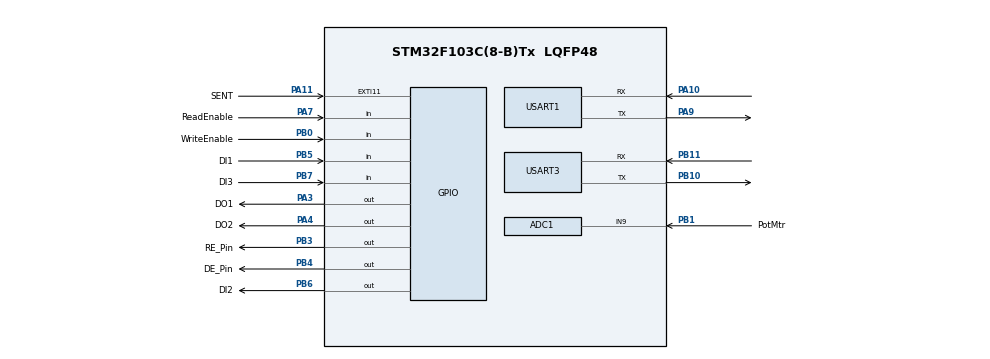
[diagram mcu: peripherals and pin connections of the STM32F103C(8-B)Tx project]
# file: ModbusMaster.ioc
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Mcu.Family=STM32F1
NVIC.USART3_IRQn=true\:0\:0\:true\:false\:true\:true\:true
PA10.Mode=Asynchronous
PB10.Mode=Asynchronous
PA11.GPIO_Label=SENT
PB0.GPIO_Label=WriteEnable
PB6.GPIO_Label=DI2
PA11.GPIO_PuPd=GPIO_PULLDOWN
PB11.Signal=USART3_RX
ProjectManager.StackSize=0x400
PA13.Signal=SYS_JTMS-SWDIO
PA9.Mode=Asynchronous
PB11.Mode=Asynchronous
ProjectManager.TargetToolchain=STM32CubeIDE
PA9.Signal=USART1_TX
PB6.Signal=GPIO_Output
ADC1.Channel-1\#ChannelRegularConversion=ADC_CHANNEL_9
PB10.Signal=USART3_TX
NVIC.EXTI15_10_IRQn=true\:3\:0\:true\:false\:true\:true\:true
SH.SharedAnalog_PB1.0=GPIO_Analog
SH.SharedAnalog_PB1.1=ADC1_IN9,IN9
board=custom
NVIC.TIM3_IRQn=true\:2\:0\:true\:false\:true\:true\:true
RCC.APB2Freq_Value=8000000
PB4.GPIO_Label=DE_Pin
VP_TIM2_VS_ClockSourceINT.Mode=Internal
PA14.Mode=Serial_Wire
PB1.GPIO_Label=PotMtr
NVIC.TIM2_IRQn=true\:0\:0\:false\:false\:true\:true\:true
PB7.Signal=GPIO_Input
PA13.Mode=Serial_Wire
Mcu.Name=STM32F103C(8-B)Tx
PB7.GPIO_Label=DI3
PB3.Signal=GPIO_Output
PA4.Signal=GPIO_Output
ADC1.SamplingTime-1\#ChannelRegularConversion=ADC_SAMPLETIME_1CYCLE_5
Mcu.Package=LQFP48
PB5.Signal=GPIO_Input
PB1.Signal=SharedAnalog_PB1
PA7.GPIO_Label=ReadEnable
ADC1.master=1
USART3.VirtualMode=VM_ASYNC
USART1.VirtualMode=VM_ASYNC
ADC1.Rank-1\#ChannelRegularConversion=1
PA11.Signal=GPXTI11
PA10.Signal=USART1_RX
PA14.Signal=SYS_JTCK-SWCLK
ProjectManager.HeapSize=0x200
VP_TIM4_VS_ClockSourceINT.Mode=Internal
NVIC.PriorityGroup=NVIC_PRIORITYGROUP_4
ADC1.NbrOfConversionFlag=1
PB5.GPIO_Label=DI1
NVIC.TIM4_IRQn=true\:1\:0\:true\:false\:true\:true\:true
PA11.GPIO_ModeDefaultEXTI=GPIO_MODE_IT_RISING
RCC.APB1Freq_Value=8000000
PB0.Signal=GPIO_Input
PA4.GPIO_Label=DO2
VP_TIM3_VS_ClockSourceINT.Mode=Internal
PB4.Signal=GPIO_Output
PA3.GPIO_Label=DO1
PA3.Signal=GPIO_Output
PA7.Signal=GPIO_Input
PB3.GPIO_Label=RE_Pin

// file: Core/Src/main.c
/* USER CODE BEGIN Header */
/**
  ******************************************************************************
  * @file           : main.c
  * @brief          : Main program body
  ******************************************************************************
  * @attention
  *
  * <h2><center>&copy; Copyright (c) 2021 STMicroelectronics.
  * All rights reserved.</center></h2>
  *
  * This software component is licensed by ST under BSD 3-Clause license,
  * the "License"; You may not use this file except in compliance with the
  * License. You may obtain a copy of the License at:
  *                        opensource.org/licenses/BSD-3-Clause
  *
  ******************************************************************************
  */
/* USER CODE END Header */
#include "main.h"

/* USER CODE BEGIN Includes */
#include "stdarg.h"
#include "rtuHandler.h"

/* USER CODE END Includes */

ADC_HandleTypeDef hadc1;

TIM_HandleTypeDef htim2;
TIM_HandleTypeDef htim3;
TIM_HandleTypeDef htim4;

UART_HandleTypeDef huart1;
UART_HandleTypeDef huart3;

/* USER CODE BEGIN PV */

MBHandler MBMaster;

/* USER CODE END PV */

void SystemClock_Config(void);
static void MX_GPIO_Init(void);
static void MX_TIM3_Init(void);
static void MX_TIM4_Init(void);
static void MX_USART1_UART_Init(void);
static void MX_ADC1_Init(void);
static void MX_USART3_UART_Init(void);
static void MX_TIM2_Init(void);
/* USER CODE BEGIN PFP */
void printMsg(char *msg,...);

void GPIOMapping();

void SelectADCChannel();

/* USER CODE END PFP */

/* USER CODE BEGIN 0 */
void printMsg( char *msg,...)
{
	char buffer[100];

	va_list args;
	va_start(args, msg);
	vsprintf(buffer, msg, args);

	for(int j=0; j<strlen(buffer); j++)
	{
		USART1->DR = buffer[j];
		while(!(USART1->SR & USART_SR_TXE));
	}
}

void SelectADCChannel(uint32_t channel)
{

}

void GPIOMapping()
{

}

/* USER CODE END 0 */

int main(void)
{

  /* MCU Configuration--------------------------------------------------------*/

  /* Reset of all peripherals, Initializes the Flash interface and the Systick. */
  HAL_Init();

  /* Configure the system clock */
  SystemClock_Config();

  /* Initialize all configured peripherals */
  MX_GPIO_Init();
  MX_TIM3_Init();
  MX_TIM4_Init();
  MX_USART1_UART_Init();
  MX_ADC1_Init();
  MX_USART3_UART_Init();
  MX_TIM2_Init();
  /* USER CODE BEGIN 2 */

  InitMBMaster(&MBMaster, &huart3, &htim4, &htim3, &htim2, 8, 9600, UART_WORDLENGTH_9B, UART_STOPBITS_1, UART_PARITY_EVEN,
		  RE_Pin_GPIO_Port, RE_Pin_Pin, DE_Pin_GPIO_Port, DE_Pin_Pin);

  HAL_ADCEx_Calibration_Start(&hadc1);
  /* USER CODE END 2 */

  /* Infinite loop */
  while (1)
  {

    /* USER CODE BEGIN 3 */

	  if(HAL_GPIO_ReadPin(WriteEnable_GPIO_Port, WriteEnable_Pin))
	  {
		  // Write coils
		  uint8_t coils[3]={1,1,1};

		  coils[0] = HAL_GPIO_ReadPin(DI1_GPIO_Port, DI1_Pin);
		  coils[1] = HAL_GPIO_ReadPin(DI2_GPIO_Port, DI2_Pin);
		  coils[2] = HAL_GPIO_ReadPin(DI3_GPIO_Port, DI3_Pin);

		  //WriteCoils(&MBMaster, 1, 2, coils);

		  // Write registers
		  HAL_ADC_Start(&hadc1);
		  HAL_ADC_PollForConversion(&hadc1, 200);

		  uint16_t regsToWrite[1] = { (uint16_t)HAL_ADC_GetValue(&hadc1) * (65535/4095)};

		  if(WriteRegisters(&MBMaster, 1, 2, regsToWrite))
		  {
			  printMsg("PWM Ton:%d\n", regsToWrite[0]);
		  }

		  HAL_Delay(500);
	  }
	  else
	  {

	  }

	  if(HAL_GPIO_ReadPin(ReadEnable_GPIO_Port, ReadEnable_Pin))
	  {
			// Read coils
			uint8_t* coils = ReadCoils(&MBMaster, 1, 0, 2);

			// DI1
			if((*coils) == 1)
				HAL_GPIO_WritePin(DO1_GPIO_Port, DO1_Pin, GPIO_PIN_RESET);
			else
				HAL_GPIO_WritePin(DO1_GPIO_Port, DO1_Pin, GPIO_PIN_SET);

			// DI2
			if(*(coils + 1) == 1)
				HAL_GPIO_WritePin(DO2_GPIO_Port, DO2_Pin, GPIO_PIN_RESET);
			else
				HAL_GPIO_WritePin(DO2_GPIO_Port, DO2_Pin, GPIO_PIN_SET);

			printMsg("-------------------------------------\n");
			printMsg("->DI1 (switch 1):%d\n", *coils);
			printMsg("->DI2 (switch 2):%d\n", *(coils+1));

			free(coils);

			HAL_Delay(500);

			// Read registers

			uint16_t registers[4];

			ReadRegisters(&MBMaster, 1, 0, 2, registers);

			uint16_t ambTemp = BytesToReg(registers[1], registers[0]);
			uint16_t procTemp = BytesToReg(registers[3], registers[2]);

			printMsg("->Ambient temperature:%d Celcius\n", ambTemp);
			printMsg("->STM32 temperature:%d Celcius\n", procTemp);
			HAL_Delay(500);
	  }
	  else
	  {

	  }

  }
  /* USER CODE END 3 */
}

void SystemClock_Config(void)
{
  RCC_OscInitTypeDef RCC_OscInitStruct = {0};
  RCC_ClkInitTypeDef RCC_ClkInitStruct = {0};
  RCC_PeriphCLKInitTypeDef PeriphClkInit = {0};

  /** Initializes the RCC Oscillators according to the specified parameters
  * in the RCC_OscInitTypeDef structure.
  */
  RCC_OscInitStruct.OscillatorType = RCC_OSCILLATORTYPE_HSI;
  RCC_OscInitStruct.HSIState = RCC_HSI_ON;
  RCC_OscInitStruct.HSICalibrationValue = RCC_HSICALIBRATION_DEFAULT;
  RCC_OscInitStruct.PLL.PLLState = RCC_PLL_NONE;
  if (HAL_RCC_OscConfig(&RCC_OscInitStruct) != HAL_OK)
  {
    Error_Handler();
  }
  /** Initializes the CPU, AHB and APB buses clocks
  */
  RCC_ClkInitStruct.ClockType = RCC_CLOCKTYPE_HCLK|RCC_CLOCKTYPE_SYSCLK
                              |RCC_CLOCKTYPE_PCLK1|RCC_CLOCKTYPE_PCLK2;
  RCC_ClkInitStruct.SYSCLKSource = RCC_SYSCLKSOURCE_HSI;
  RCC_ClkInitStruct.AHBCLKDivider = RCC_SYSCLK_DIV1;
  RCC_ClkInitStruct.APB1CLKDivider = RCC_HCLK_DIV1;
  RCC_ClkInitStruct.APB2CLKDivider = RCC_HCLK_DIV1;

  if (HAL_RCC_ClockConfig(&RCC_ClkInitStruct, FLASH_LATENCY_0) != HAL_OK)
  {
    Error_Handler();
  }
  PeriphClkInit.PeriphClockSelection = RCC_PERIPHCLK_ADC;
  PeriphClkInit.AdcClockSelection = RCC_ADCPCLK2_DIV2;
  if (HAL_RCCEx_PeriphCLKConfig(&PeriphClkInit) != HAL_OK)
  {
    Error_Handler();
  }
}

static void MX_ADC1_Init(void)
{

  ADC_ChannelConfTypeDef sConfig = {0};

  /** Common config
  */
  hadc1.Instance = ADC1;
  hadc1.Init.ScanConvMode = ADC_SCAN_DISABLE;
  hadc1.Init.ContinuousConvMode = DISABLE;
  hadc1.Init.DiscontinuousConvMode = DISABLE;
  hadc1.Init.ExternalTrigConv = ADC_SOFTWARE_START;
  hadc1.Init.DataAlign = ADC_DATAALIGN_RIGHT;
  hadc1.Init.NbrOfConversion = 1;
  if (HAL_ADC_Init(&hadc1) != HAL_OK)
  {
    Error_Handler();
  }
  /** Configure Regular Channel
  */
  sConfig.Channel = ADC_CHANNEL_9;
  sConfig.Rank = ADC_REGULAR_RANK_1;
  sConfig.SamplingTime = ADC_SAMPLETIME_1CYCLE_5;
  if (HAL_ADC_ConfigChannel(&hadc1, &sConfig) != HAL_OK)
  {
    Error_Handler();
  }

}

static void MX_TIM2_Init(void)
{

  TIM_ClockConfigTypeDef sClockSourceConfig = {0};
  TIM_MasterConfigTypeDef sMasterConfig = {0};

  htim2.Instance = TIM2;
  htim2.Init.Prescaler = 0;
  htim2.Init.CounterMode = TIM_COUNTERMODE_UP;
  htim2.Init.Period = 65535;
  htim2.Init.ClockDivision = TIM_CLOCKDIVISION_DIV1;
  htim2.Init.AutoReloadPreload = TIM_AUTORELOAD_PRELOAD_DISABLE;
  if (HAL_TIM_Base_Init(&htim2) != HAL_OK)
  {
    Error_Handler();
  }
  sClockSourceConfig.ClockSource = TIM_CLOCKSOURCE_INTERNAL;
  if (HAL_TIM_ConfigClockSource(&htim2, &sClockSourceConfig) != HAL_OK)
  {
    Error_Handler();
  }
  sMasterConfig.MasterOutputTrigger = TIM_TRGO_RESET;
  sMasterConfig.MasterSlaveMode = TIM_MASTERSLAVEMODE_DISABLE;
  if (HAL_TIMEx_MasterConfigSynchronization(&htim2, &sMasterConfig) != HAL_OK)
  {
    Error_Handler();
  }

}

static void MX_TIM3_Init(void)
{

  TIM_ClockConfigTypeDef sClockSourceConfig = {0};
  TIM_MasterConfigTypeDef sMasterConfig = {0};

  htim3.Instance = TIM3;
  htim3.Init.Prescaler = 0;
  htim3.Init.CounterMode = TIM_COUNTERMODE_UP;
  htim3.Init.Period = 65535;
  htim3.Init.ClockDivision = TIM_CLOCKDIVISION_DIV1;
  htim3.Init.AutoReloadPreload = TIM_AUTORELOAD_PRELOAD_DISABLE;
  if (HAL_TIM_Base_Init(&htim3) != HAL_OK)
  {
    Error_Handler();
  }
  sClockSourceConfig.ClockSource = TIM_CLOCKSOURCE_INTERNAL;
  if (HAL_TIM_ConfigClockSource(&htim3, &sClockSourceConfig) != HAL_OK)
  {
    Error_Handler();
  }
  sMasterConfig.MasterOutputTrigger = TIM_TRGO_RESET;
  sMasterConfig.MasterSlaveMode = TIM_MASTERSLAVEMODE_DISABLE;
  if (HAL_TIMEx_MasterConfigSynchronization(&htim3, &sMasterConfig) != HAL_OK)
  {
    Error_Handler();
  }

}

static void MX_TIM4_Init(void)
{

  TIM_ClockConfigTypeDef sClockSourceConfig = {0};
  TIM_MasterConfigTypeDef sMasterConfig = {0};

  htim4.Instance = TIM4;
  htim4.Init.Prescaler = 0;
  htim4.Init.CounterMode = TIM_COUNTERMODE_UP;
  htim4.Init.Period = 65535;
  htim4.Init.ClockDivision = TIM_CLOCKDIVISION_DIV1;
  htim4.Init.AutoReloadPreload = TIM_AUTORELOAD_PRELOAD_DISABLE;
  if (HAL_TIM_Base_Init(&htim4) != HAL_OK)
  {
    Error_Handler();
  }
  sClockSourceConfig.ClockSource = TIM_CLOCKSOURCE_INTERNAL;
  if (HAL_TIM_ConfigClockSource(&htim4, &sClockSourceConfig) != HAL_OK)
  {
    Error_Handler();
  }
  sMasterConfig.MasterOutputTrigger = TIM_TRGO_RESET;
  sMasterConfig.MasterSlaveMode = TIM_MASTERSLAVEMODE_DISABLE;
  if (HAL_TIMEx_MasterConfigSynchronization(&htim4, &sMasterConfig) != HAL_OK)
  {
    Error_Handler();
  }

}

static void MX_USART1_UART_Init(void)
{

  huart1.Instance = USART1;
  huart1.Init.BaudRate = 115200;
  huart1.Init.WordLength = UART_WORDLENGTH_8B;
  huart1.Init.StopBits = UART_STOPBITS_1;
  huart1.Init.Parity = UART_PARITY_NONE;
  huart1.Init.Mode = UART_MODE_TX_RX;
  huart1.Init.HwFlowCtl = UART_HWCONTROL_NONE;
  huart1.Init.OverSampling = UART_OVERSAMPLING_16;
  if (HAL_UART_Init(&huart1) != HAL_OK)
  {
    Error_Handler();
  }

}

static void MX_USART3_UART_Init(void)
{

  huart3.Instance = USART3;
  huart3.Init.BaudRate = 115200;
  huart3.Init.WordLength = UART_WORDLENGTH_8B;
  huart3.Init.StopBits = UART_STOPBITS_1;
  huart3.Init.Parity = UART_PARITY_NONE;
  huart3.Init.Mode = UART_MODE_TX_RX;
  huart3.Init.HwFlowCtl = UART_HWCONTROL_NONE;
  huart3.Init.OverSampling = UART_OVERSAMPLING_16;
  if (HAL_UART_Init(&huart3) != HAL_OK)
  {
    Error_Handler();
  }

}

static void MX_GPIO_Init(void)
{
  GPIO_InitTypeDef GPIO_InitStruct = {0};

  /* GPIO Ports Clock Enable */
  __HAL_RCC_GPIOA_CLK_ENABLE();
  __HAL_RCC_GPIOB_CLK_ENABLE();

  /*Configure GPIO pin Output Level */
  HAL_GPIO_WritePin(GPIOA, DO1_Pin|DO2_Pin, GPIO_PIN_RESET);

  /*Configure GPIO pin Output Level */
  HAL_GPIO_WritePin(GPIOB, RE_Pin_Pin|DE_Pin_Pin|DI2_Pin, GPIO_PIN_RESET);

  /*Configure GPIO pins : DO1_Pin DO2_Pin */
  GPIO_InitStruct.Pin = DO1_Pin|DO2_Pin;
  GPIO_InitStruct.Mode = GPIO_MODE_OUTPUT_PP;
  GPIO_InitStruct.Pull = GPIO_NOPULL;
  GPIO_InitStruct.Speed = GPIO_SPEED_FREQ_LOW;
  HAL_GPIO_Init(GPIOA, &GPIO_InitStruct);

  /*Configure GPIO pin : ReadEnable_Pin */
  GPIO_InitStruct.Pin = ReadEnable_Pin;
  GPIO_InitStruct.Mode = GPIO_MODE_INPUT;
  GPIO_InitStruct.Pull = GPIO_NOPULL;
  HAL_GPIO_Init(ReadEnable_GPIO_Port, &GPIO_InitStruct);

  /*Configure GPIO pins : WriteEnable_Pin DI1_Pin DI3_Pin */
  GPIO_InitStruct.Pin = WriteEnable_Pin|DI1_Pin|DI3_Pin;
  GPIO_InitStruct.Mode = GPIO_MODE_INPUT;
  GPIO_InitStruct.Pull = GPIO_NOPULL;
  HAL_GPIO_Init(GPIOB, &GPIO_InitStruct);

  /*Configure GPIO pin : SENT_Pin */
  GPIO_InitStruct.Pin = SENT_Pin;
  GPIO_InitStruct.Mode = GPIO_MODE_IT_RISING;
  GPIO_InitStruct.Pull = GPIO_PULLDOWN;
  HAL_GPIO_Init(SENT_GPIO_Port, &GPIO_InitStruct);

  /*Configure GPIO pins : RE_Pin_Pin DE_Pin_Pin DI2_Pin */
  GPIO_InitStruct.Pin = RE_Pin_Pin|DE_Pin_Pin|DI2_Pin;
  GPIO_InitStruct.Mode = GPIO_MODE_OUTPUT_PP;
  GPIO_InitStruct.Pull = GPIO_NOPULL;
  GPIO_InitStruct.Speed = GPIO_SPEED_FREQ_LOW;
  HAL_GPIO_Init(GPIOB, &GPIO_InitStruct);

  /* EXTI interrupt init*/
  HAL_NVIC_SetPriority(EXTI15_10_IRQn, 3, 0);
  HAL_NVIC_EnableIRQ(EXTI15_10_IRQn);

}

/* USER CODE BEGIN 4 */

void HAL_UART_RxCpltCallback(UART_HandleTypeDef *huart)
{
	MBMaster_HAL_UART_RxCpltCallback(huart, &MBMaster);
}

void HAL_UART_ErrorCallback(UART_HandleTypeDef *huart)
{
	MBUnit_HAL_UART_ErrorCallback(huart, &MBMaster);
}

void HAL_TIM_PeriodElapsedCallback(TIM_HandleTypeDef *htim)
{
	MBMaster_HAL_TIM_PeriodElapsedCallback(htim, &MBMaster);
}

void HAL_TIM_ErrorCallback(TIM_HandleTypeDef *htim)
{
	MBUnit_HAL_TIM_ErrorCallback(htim, &MBMaster);
}

void HAL_GPIO_EXTI_Callback (uint16_t GPIO_Pin)
{

}

/* USER CODE END 4 */

void Error_Handler(void)
{
  __disable_irq();
  while (1)
  {
  }
}

/************************ (C) COPYRIGHT STMicroelectronics *****END OF FILE****/
